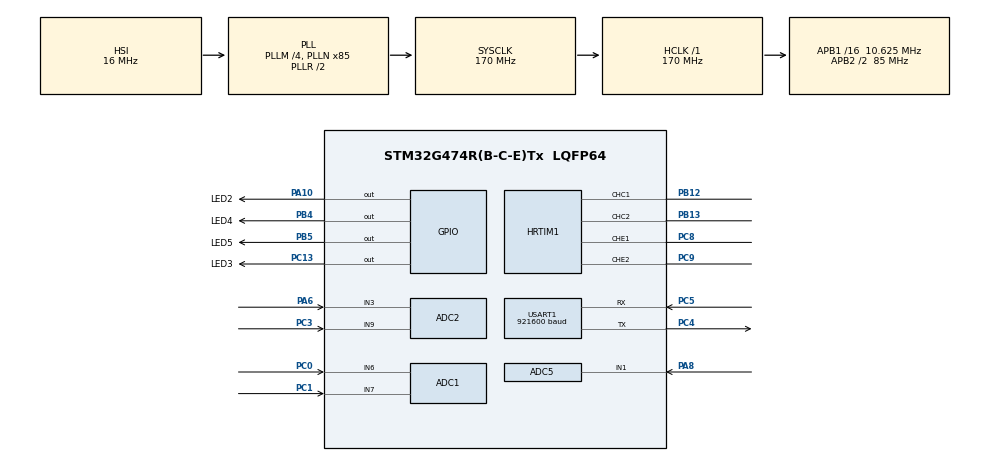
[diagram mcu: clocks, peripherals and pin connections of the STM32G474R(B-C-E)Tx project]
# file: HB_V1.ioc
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Mcu.Family=STM32G4
Dma.ADC5.3.MemDataAlignment=DMA_MDATAALIGN_WORD
PC3.Mode=IN9-Single-Ended
ADC1.RightBitShift=ADC_RIGHTBITSHIFT_5
HRTIM1.CompareValue1-Output_TE1TE2=120
ADC2.ExternalTrigConv=ADC_EXTERNALTRIG_HRTIM_TRG1
PA6.Mode=IN3-Single-Ended
Dma.ADC2.2.Priority=DMA_PRIORITY_LOW
RCC.CortexFreq_Value=170000000
HRTIM1.SetOutput1_Source1-Output_TE1TE2=HRTIM_OUTPUTSET_TIMPER
Dma.ADC1.1.MemDataAlignment=DMA_MDATAALIGN_WORD
ADC1.Overrun=ADC_OVR_DATA_OVERWRITTEN
ADC2.SamplingTime-1\#ChannelRegularConversion=ADC_SAMPLETIME_47CYCLES_5
ADC1.ContinuousConvMode=DISABLE
Dma.USART1_TX.0.RequestNumber=1
ADC2.Channel-0\#ChannelRegularConversion=ADC_CHANNEL_9
Dma.ADC5.3.SignalID=NONE
Dma.ADC5.3.PeriphInc=DMA_PINC_DISABLE
USART1.BaudRate=921600
Dma.USART1_TX.0.SignalID=NONE
Dma.ADC1.1.SyncEnable=DISABLE
HRTIM1.RisingValue-Output_TC1TC2=DEADTIME
PC5.Mode=Asynchronous
PC13.GPIO_Label=LED3
PB13.Signal=HRTIM1_CHC2
HRTIM1.ResetOutput1_Source1-Output_TE1TE2=HRTIM_OUTPUTRESET_TIMCMP2
ADC1.Channel-8\#ChannelRegularConversion=ADC_CHANNEL_7
RCC.SYSCLKSource=RCC_SYSCLKSOURCE_PLLCLK
ProjectManager.StackSize=0x400
ADC2.Ratio=ADC_OVERSAMPLING_RATIO_32
Dma.ADC2.2.SyncPolarity=HAL_DMAMUX_SYNC_NO_EVENT
Dma.ADC5.3.Instance=DMA2_Channel3
HRTIM1.DeadTimeInsertion-Output_TC1TC2=HRTIM_TIMDEADTIMEINSERTION_ENABLED
Dma.USART1_TX.0.Priority=DMA_PRIORITY_LOW
HRTIM1.NumberSetSource1-Output_TE1TE2=1
Mcu.UserConstants=DEADTIME,50;PERIOD_100,54400;BLANKING,200;MAX_PERIOD,36267
Dma.USART1_TX.0.Direction=DMA_MEMORY_TO_PERIPH
Dma.USART1_TX.0.SyncPolarity=HAL_DMAMUX_SYNC_NO_EVENT
HRTIM1.ResetOutput1_Source2-Output_TE1TE2=HRTIM_OUTPUTRESET_TIMCMP1
ADC2.DMAContinuousRequests=ENABLE
Dma.ADC1.1.Instance=DMA2_Channel1
Dma.ADC1.1.SyncPolarity=HAL_DMAMUX_SYNC_NO_EVENT
ADC1.Channel-3\#ChannelRegularConversion=ADC_CHANNEL_6
ADC5.OffsetNumber-1\#ChannelRegularConversion=ADC_OFFSET_NONE
RCC.HCLKFreq_Value=170000000
RCC.APB2TimFreq_Value=170000000
Dma.ADC1.1.PeriphDataAlignment=DMA_PDATAALIGN_WORD
TIM2.ClockDivision=TIM_CLOCKDIVISION_DIV1
PC3.Signal=ADC2_IN9
ADC5.RightBitShift=ADC_RIGHTBITSHIFT_5
PC9.GPIO_Speed_High_Default=GPIO_SPEED_FREQ_VERY_HIGH
RCC.AHBFreq_Value=170000000
RCC.HSE_VALUE=8000000
Dma.ADC5.3.PeriphDataAlignment=DMA_PDATAALIGN_WORD
Dma.ADC2.2.SignalID=NONE
RCC.ADC12Freq_Value=170000000
HRTIM1.CompareUnit3-Output_TE1TE2=HRTIM_COMPAREUNIT_3
TIM2.PeriodNoDither=21250000/2
HRTIM1.GreaterCMP3_TE=HRTIM_TIMERGTCMP3_EQUAL
Dma.ADC5.3.Direction=DMA_PERIPH_TO_MEMORY
HRTIM1.FallingValue-Output_TC1TC2=DEADTIME
NVIC.TIM2_IRQn=true\:0\:0\:false\:false\:true\:true\:true
PA10.GPIO_Label=LED2
Dma.ADC1.1.Priority=DMA_PRIORITY_LOW
HRTIM1.NumberResetSource1-Output_TE1TE2=2
PC9.Mode=Output_TE1TE2
VP_SYS_VS_DBSignals.Mode=DisableDeadBatterySignals
Dma.USART1_TX.0.SyncRequestNumber=1
Dma.ADC1.1.Mode=DMA_CIRCULAR
PA8.Signal=ADC5_IN1
Dma.USART1_TX.0.PeriphDataAlignment=DMA_PDATAALIGN_BYTE
Dma.ADC2.2.Instance=DMA2_Channel2
Mcu.Package=LQFP64
HRTIM1.FallingValue-Output_TE1TE2=DEADTIME
PA6.Signal=ADC2_IN3
PB12.Mode=Output_TC1TC2
ADC1.EnableInjectedConversion=DISABLE
ADC1.OversamplingMode=ENABLE
Dma.ADC2.2.PeriphInc=DMA_PINC_DISABLE
Dma.ADC1.1.Direction=DMA_PERIPH_TO_MEMORY
Dma.ADC5.3.SyncEnable=DISABLE
ADC2.Overrun=ADC_OVR_DATA_OVERWRITTEN
Dma.ADC5.3.RequestNumber=1
ADC5.SamplingTime-1\#ChannelRegularConversion=ADC_SAMPLETIME_47CYCLES_5
Dma.ADC2.2.MemDataAlignment=DMA_MDATAALIGN_WORD
Dma.ADC2.2.EventEnable=DISABLE
Dma.ADC1.1.MemInc=DMA_MINC_ENABLE
HRTIM1.CompareValue3-Output_TE1TE2=BLANKING
ADC2.Channel-1\#ChannelRegularConversion=ADC_CHANNEL_3
PA10.Signal=GPIO_Output
HRTIM1.CompareUnit1-Output_TE1TE2=HRTIM_COMPAREUNIT_1
Dma.USART1_TX.0.Instance=DMA1_Channel1
ADC2.SamplingTime-0\#ChannelRegularConversion=ADC_SAMPLETIME_47CYCLES_5
HRTIM1.ADCTrigger1_Source1=HRTIM_ADCTRIGGEREVENT13_TIMERE_CMP3
HRTIM1.ResetOutput1_Source1-Output_TC1TC2=HRTIM_OUTPUTRESET_TIMCMP1
HRTIM1.NumberADCTriggerSource1=1
TIM2.TIM_MasterOutputTrigger=TIM_TRGO_ENABLE
RCC.APB2CLKDivider=RCC_HCLK_DIV2
PB5.GPIO_Label=LED5
ADC5.NbrOfConversion=1
ADC2.NbrOfConversion=2
Dma.Request2=ADC2
Dma.ADC2.2.MemInc=DMA_MINC_ENABLE
HRTIM1.CompareUnit2-Output_TE1TE2=HRTIM_COMPAREUNIT_2
Dma.Request1=ADC1
RCC.APB1TimFreq_Value=21250000
Dma.USART1_TX.0.EventEnable=DISABLE
ADC5.Channel-1\#ChannelRegularConversion=ADC_CHANNEL_1
Dma.Request3=ADC5
PC5.Signal=USART1_RX
PB13.Mode=Output_TC1TC2
ADC2.Rank-0\#ChannelRegularConversion=1
HRTIM1.CompareValue2-Output_TE1TE2=MAX_PERIOD
Dma.ADC2.2.PeriphDataAlignment=DMA_PDATAALIGN_WORD
NVIC.USART1_IRQn=true\:0\:0\:false\:false\:true\:true\:true
Dma.Request0=USART1_TX
ADC1.SamplingTime-8\#ChannelRegularConversion=ADC_SAMPLETIME_47CYCLES_5
Dma.ADC2.2.RequestNumber=1
ADC1.EOCSelection=ADC_EOC_SINGLE_CONV
HRTIM1.NumberResetSource2_TE=0
PC4.Mode=Asynchronous
RCC.HSI48_VALUE=48000000
Dma.ADC1.1.SignalID=NONE
PB4.Signal=GPIO_Output
Dma.USART1_TX.0.SyncSignalID=NONE
HRTIM1.RisingValue-Output_TE1TE2=DEADTIME
Dma.ADC2.2.SyncSignalID=NONE
Dma.USART1_TX.0.MemInc=DMA_MINC_ENABLE
Dma.ADC5.3.SyncPolarity=HAL_DMAMUX_SYNC_NO_EVENT
Dma.USART1_TX.0.PeriphInc=DMA_PINC_DISABLE
HRTIM1.CompareUnit4-Output_TE1TE2=__NULL
Dma.ADC1.1.SyncSignalID=NONE
ADC1.Rank-8\#ChannelRegularConversion=2
PC13.Signal=GPIO_Output
Dma.ADC1.1.RequestNumber=1
ADC1.OffsetNumber-3\#ChannelRegularConversion=ADC_OFFSET_NONE
ADC5.ContinuousConvMode=DISABLE
PC8.Signal=HRTIM1_CHE1
PC4.Signal=USART1_TX
RCC.EXTERNAL_CLOCK_VALUE=12288000
Dma.USART1_TX.0.Polarity=HAL_DMAMUX_REQ_GEN_RISING
PC0.Signal=ADC1_IN6
RCC.APB1CLKDivider=RCC_HCLK_DIV16
Dma.ADC5.3.SyncRequestNumber=1
ADC5.Overrun=ADC_OVR_DATA_OVERWRITTEN
PC0.Mode=IN6-Single-Ended
USART1.VirtualMode-Asynchronous=VM_ASYNC
ADC2.ContinuousConvMode=DISABLE
ProjectManager.TargetToolchain=STM32CubeIDE
ADC1.OffsetNumber-8\#ChannelRegularConversion=ADC_OFFSET_NONE
HRTIM1.postscaler1=10
Dma.USART1_TX.0.SyncEnable=DISABLE
Dma.ADC5.3.Polarity=HAL_DMAMUX_REQ_GEN_RISING
ADC5.ExternalTrigConv=ADC_EXTERNALTRIG_HRTIM_TRG1
HRTIM1.Polarity2-Output_TE1TE2=HRTIM_OUTPUTPOLARITY_HIGH
HRTIM1.CompareValue1-Output_TC1TC2=0x120
ADC5.Rank-1\#ChannelRegularConversion=1
RCC.USBFreq_Value=170000000
HRTIM1.CompareUnit1-Output_TC1TC2=HRTIM_COMPAREUNIT_1
ADC1.Ratio=ADC_OVERSAMPLING_RATIO_32
Dma.ADC1.1.Polarity=HAL_DMAMUX_REQ_GEN_RISING
RCC.LSE_VALUE=32768
ADC2.OffsetNumber-1\#ChannelRegularConversion=ADC_OFFSET_NONE
ADC1.TriggeredMode=ADC_TRIGGEREDMODE_SINGLE_TRIGGER
Dma.ADC1.1.SyncRequestNumber=1
Dma.ADC5.3.EventEnable=DISABLE
ADC2.OffsetNumber-0\#ChannelRegularConversion=ADC_OFFSET_NONE
HRTIM1.ADCTrigger_Id1=HRTIM_ADCTRIGGER_1
HRTIM1.ADCTrigger_Id3=__NULL
Dma.USART1_TX.0.Mode=DMA_NORMAL
board=custom
RCC.VCOOutputFreq_Value=340000000
RCC.ADC345Freq_Value=170000000
RCC.APB2Freq_Value=85000000
PB4.GPIO_Label=LED4
ADC1.OversamplingStopReset=ADC_REGOVERSAMPLING_CONTINUED_MODE
VP_TIM2_VS_ClockSourceINT.Mode=Internal
Dma.ADC5.3.Mode=DMA_CIRCULAR
Dma.ADC2.2.Direction=DMA_PERIPH_TO_MEMORY
Dma.ADC5.3.SyncSignalID=NONE
Dma.ADC1.1.PeriphInc=DMA_PINC_DISABLE
ADC1.DMAContinuousRequests=ENABLE
ADC1.NbrOfConversion=2
Mcu.Name=STM32G474R(B-C-E)Tx
Dma.ADC2.2.SyncEnable=DISABLE
ADC1.ExternalTrigConv=ADC_EXTERNALTRIG_HRTIM_TRG1
HRTIM1.NumberResetSource1-Output_TC1TC2=1
PC8.Mode=Output_TE1TE2
ADC2.RightBitShift=ADC_RIGHTBITSHIFT_5
Dma.ADC2.2.Mode=DMA_CIRCULAR
PC8.GPIO_Speed_High_Default=GPIO_SPEED_FREQ_VERY_HIGH
RCC.SYSCLKFreq_VALUE=170000000
ADC5.NbrOfConversionFlag=1
PB5.Signal=GPIO_Output
ADC1.master=1
ADC2.NbrOfConversionFlag=1
ADC1.SamplingTime-3\#ChannelRegularConversion=ADC_SAMPLETIME_47CYCLES_5
ADC1.Rank-3\#ChannelRegularConversion=1
HRTIM1.GreaterCMP1_TE=HRTIM_TIMERGTCMP1_GREATER
Dma.USART1_TX.0.MemDataAlignment=DMA_MDATAALIGN_BYTE
ProjectManager.HeapSize=0x200
ADC2.OversamplingMode=ENABLE
RCC.HSI_VALUE=16000000
NVIC.PriorityGroup=NVIC_PRIORITYGROUP_4
ADC1.NbrOfConversionFlag=1
RCC.PLLM=RCC_PLLM_DIV4
RCC.PLLN=85
HRTIM1.NumberSetSource1-Output_TC1TC2=1
ADC2.Rank-1\#ChannelRegularConversion=2
ADC1.EnableRegularConversion=ENABLE
PA8.Mode=IN1-Single-Ended
Dma.ADC2.2.Polarity=HAL_DMAMUX_REQ_GEN_RISING
PC9.Signal=HRTIM1_CHE2
NVIC.DMA1_Channel1_IRQn=true\:0\:0\:false\:false\:true\:true\:true
Dma.ADC1.1.EventEnable=DISABLE
ADC5.Ratio=ADC_OVERSAMPLING_RATIO_32
Dma.ADC5.3.MemInc=DMA_MINC_ENABLE
Dma.ADC5.3.Priority=DMA_PRIORITY_LOW
HRTIM1.DeadTimeInsertion-Output_TE1TE2=HRTIM_TIMDEADTIMEINSERTION_ENABLED
RCC.APB1Freq_Value=10625000
HRTIM1.SetOutput1_Source1-Output_TC1TC2=HRTIM_OUTPUTSET_TIMPER
Dma.ADC2.2.SyncRequestNumber=1
HRTIM1.Periode_TC=PERIOD_100
PC1.Signal=ADC1_IN7
ADC5.OversamplingMode=ENABLE
PB12.Signal=HRTIM1_CHC1
HRTIM1.Periode_TE=PERIOD_100
PC1.Mode=IN7-Single-Ended
ADC5.DMAContinuousRequests=ENABLE

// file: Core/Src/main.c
/* USER CODE BEGIN Header */
/**
  ******************************************************************************
  * @file           : main.c
  * @brief          : Main program body
  ******************************************************************************
  * @attention
  *
  * <h2><center>&copy; Copyright (c) 2021 STMicroelectronics.
  * All rights reserved.</center></h2>
  *
  * This software component is licensed by ST under BSD 3-Clause license,
  * the "License"; You may not use this file except in compliance with the
  * License. You may obtain a copy of the License at:
  *                        opensource.org/licenses/BSD-3-Clause
  *
  ******************************************************************************
  */
/* USER CODE END Header */
#include "main.h"
#include "adc.h"
#include "dma.h"
#include "hrtim.h"
#include "hrtim.h"
#include "tim.h"
#include "usart.h"
#include "gpio.h"

/* USER CODE BEGIN Includes */
#include "controller.h"
#include "types.h"
/* USER CODE END Includes */

void SystemClock_Config(void);

/* USER CODE BEGIN 0 */
adcval_t adcVal;

/* USER CODE END 0 */

int main(void)
{

  /* MCU Configuration--------------------------------------------------------*/

  /* Reset of all peripherals, Initializes the Flash interface and the Systick. */
  HAL_Init();

  /* Configure the system clock */
  SystemClock_Config();

  /* Initialize all configured peripherals */
  MX_GPIO_Init();
  MX_DMA_Init();
  MX_HRTIM1_Init();
  MX_USART1_UART_Init();
  MX_ADC1_Init();
  MX_TIM2_Init();
  MX_ADC2_Init();
  MX_ADC5_Init();
  /* USER CODE BEGIN 2 */

  //Calibration of adc2
  HAL_ADCEx_Calibration_Start(&hadc1, ADC_SINGLE_ENDED);
  HAL_ADCEx_Calibration_Start(&hadc2, ADC_SINGLE_ENDED);
  HAL_ADCEx_Calibration_Start(&hadc5, ADC_SINGLE_ENDED);

  //Start HRTIM
  HAL_HRTIM_WaveformOutputStart(&hhrtim1, HRTIM_OUTPUT_TE1|HRTIM_OUTPUT_TE2);
  HAL_HRTIM_WaveformCounterStart(&hhrtim1, HRTIM_TIMERID_TIMER_E);

  HAL_HRTIM_WaveformOutputStart(&hhrtim1, HRTIM_OUTPUT_TC1|HRTIM_OUTPUT_TC2);
  HAL_HRTIM_WaveformCounterStart(&hhrtim1, HRTIM_TIMERID_TIMER_C);

  HAL_ADC_Start_DMA(&hadc1, adcVal.ADC1Val, 2);
  HAL_ADC_Start_DMA(&hadc2, adcVal.ADC2Val, 2);
  HAL_ADC_Start_DMA(&hadc5, adcVal.ADC5Val, 1);
  HAL_Delay(1);
  HAL_TIM_Base_Start_IT(&htim2);

  /* USER CODE END 2 */

  /* Infinite loop */
  /* USER CODE BEGIN WHILE */
  while (1)
  {

	  //controller_setVoltagePWMConsumer(0);
	  controller_setReferenceTemp(20);
	  //controller_setVoltagePWM(0.15);
	  HAL_Delay(100000);

	  //controller_setVoltagePWMConsumer(5);
	  controller_setReferenceTemp(18);
	  //controller_setVoltagePWM(0.4);
	  HAL_Delay(100000);

    /* USER CODE END WHILE */

  }
}

void SystemClock_Config(void)
{
  RCC_OscInitTypeDef RCC_OscInitStruct = {0};
  RCC_ClkInitTypeDef RCC_ClkInitStruct = {0};
  RCC_PeriphCLKInitTypeDef PeriphClkInit = {0};

  /** Configure the main internal regulator output voltage
  */
  HAL_PWREx_ControlVoltageScaling(PWR_REGULATOR_VOLTAGE_SCALE1_BOOST);
  /** Initializes the RCC Oscillators according to the specified parameters
  * in the RCC_OscInitTypeDef structure.
  */
  RCC_OscInitStruct.OscillatorType = RCC_OSCILLATORTYPE_HSI;
  RCC_OscInitStruct.HSIState = RCC_HSI_ON;
  RCC_OscInitStruct.HSICalibrationValue = RCC_HSICALIBRATION_DEFAULT;
  RCC_OscInitStruct.PLL.PLLState = RCC_PLL_ON;
  RCC_OscInitStruct.PLL.PLLSource = RCC_PLLSOURCE_HSI;
  RCC_OscInitStruct.PLL.PLLM = RCC_PLLM_DIV4;
  RCC_OscInitStruct.PLL.PLLN = 85;
  RCC_OscInitStruct.PLL.PLLP = RCC_PLLP_DIV2;
  RCC_OscInitStruct.PLL.PLLQ = RCC_PLLQ_DIV2;
  RCC_OscInitStruct.PLL.PLLR = RCC_PLLR_DIV2;
  if (HAL_RCC_OscConfig(&RCC_OscInitStruct) != HAL_OK)
  {
    Error_Handler();
  }
  /** Initializes the CPU, AHB and APB buses clocks
  */
  RCC_ClkInitStruct.ClockType = RCC_CLOCKTYPE_HCLK|RCC_CLOCKTYPE_SYSCLK
                              |RCC_CLOCKTYPE_PCLK1|RCC_CLOCKTYPE_PCLK2;
  RCC_ClkInitStruct.SYSCLKSource = RCC_SYSCLKSOURCE_PLLCLK;
  RCC_ClkInitStruct.AHBCLKDivider = RCC_SYSCLK_DIV1;
  RCC_ClkInitStruct.APB1CLKDivider = RCC_HCLK_DIV16;
  RCC_ClkInitStruct.APB2CLKDivider = RCC_HCLK_DIV2;

  if (HAL_RCC_ClockConfig(&RCC_ClkInitStruct, FLASH_LATENCY_4) != HAL_OK)
  {
    Error_Handler();
  }
  /** Initializes the peripherals clocks
  */
  PeriphClkInit.PeriphClockSelection = RCC_PERIPHCLK_USART1|RCC_PERIPHCLK_ADC12
                              |RCC_PERIPHCLK_ADC345;
  PeriphClkInit.Usart1ClockSelection = RCC_USART1CLKSOURCE_PCLK2;
  PeriphClkInit.Adc12ClockSelection = RCC_ADC12CLKSOURCE_SYSCLK;
  PeriphClkInit.Adc345ClockSelection = RCC_ADC345CLKSOURCE_SYSCLK;
  if (HAL_RCCEx_PeriphCLKConfig(&PeriphClkInit) != HAL_OK)
  {
    Error_Handler();
  }
}

/* USER CODE BEGIN 4 */

void HAL_TIM_PeriodElapsedCallback(TIM_HandleTypeDef *htim){
	controller_update(adcVal);
	controller_print();
}

/* USER CODE END 4 */

void Error_Handler(void)
{
  __disable_irq();
  while (1)
  {
  }
}

/************************ (C) COPYRIGHT STMicroelectronics *****END OF FILE****/
